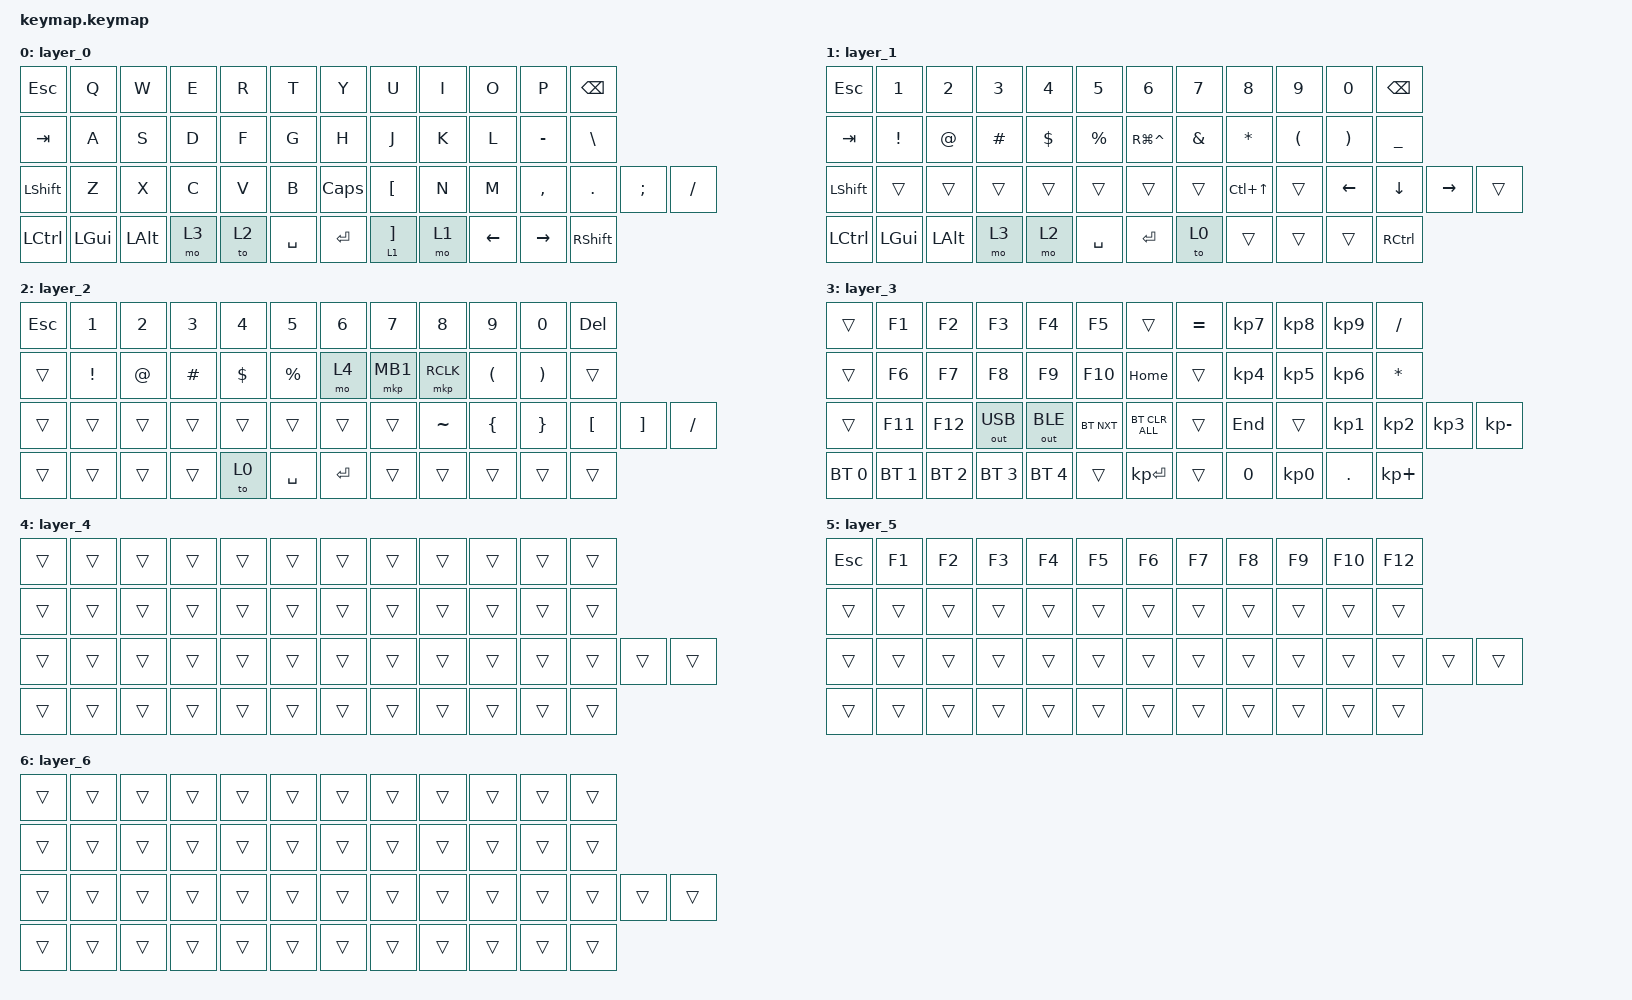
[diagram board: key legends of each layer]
#include <behaviors.dtsi>
#include <dt-bindings/zmk/bt.h>
#include <dt-bindings/zmk/keys.h>
#include <dt-bindings/zmk/outputs.h>
#include <dt-bindings/zmk/pointing.h>

/ {
    combos {
        compatible = "zmk,combos";

        bt_clear {
            bindings = <&bt BT_CLR>;
            key-positions = <28 29>;
            layers = <2>;
        };
    };

    keymap {
        compatible = "zmk,keymap";

        layer_0 {
            bindings = <
&kp ESCAPE  &kp Q         &kp W     &kp E  &kp R  &kp T      &kp Y         &kp U                &kp I  &kp O           &kp P            &kp BSPC
&kp TAB     &kp A         &kp S     &kp D  &kp F  &kp G      &kp H         &kp J                &kp K  &kp L           &kp MINUS        &kp BACKSLASH
&kp LSHFT   &kp Z         &kp X     &kp C  &kp V  &kp B      &kp CAPSLOCK  &kp LEFT_BRACKET     &kp N  &kp M           &kp COMMA        &kp DOT          &kp SEMICOLON  &kp SLASH
&kp LCTRL   &kp LEFT_GUI  &kp LALT  &mo 3  &to 2  &kp SPACE  &kp ENTER     &lt 1 RIGHT_BRACKET  &mo 1  &kp LEFT_ARROW  &kp RIGHT_ARROW  &kp RIGHT_SHIFT
            >;
        };

        layer_1 {
            bindings = <
&kp ESCAPE      &kp N1           &kp N2        &kp N3    &kp N4      &kp N5       &kp N6         &kp N7         &kp N8            &kp N9                &kp N0          &kp BACKSPACE
&kp TAB         &kp EXCLAMATION  &kp AT_SIGN   &kp HASH  &kp DOLLAR  &kp PERCENT  &kp RG(CARET)  &kp AMPERSAND  &kp ASTERISK      &kp LEFT_PARENTHESIS  &kp RPAR        &kp UNDERSCORE
&kp LEFT_SHIFT  &trans           &trans        &trans    &trans      &trans       &trans         &trans         &kp LC(UP_ARROW)  &trans                &kp LEFT_ARROW  &kp DOWN_ARROW     &kp RIGHT_ARROW  &trans
&kp LCTRL       &kp LEFT_GUI     &kp LEFT_ALT  &mo 3     &mo 2       &kp SPACE    &kp ENTER      &to 0          &trans            &trans                &trans          &kp RIGHT_CONTROL
            >;
        };

        layer_2 {
            bindings = <
&kp ESCAPE  &kp N1    &kp N2  &kp N3    &kp N4      &kp N5     &kp N6     &kp N7    &kp N8     &kp N9                &kp N0                 &kp DELETE
&trans      &kp EXCL  &kp AT  &kp HASH  &kp DOLLAR  &kp PRCNT  &mo 4      &mkp MB1  &mkp RCLK  &kp LEFT_PARENTHESIS  &kp RIGHT_PARENTHESIS  &trans
&trans      &trans    &trans  &trans    &trans      &trans     &trans     &trans    &kp TILDE  &kp LEFT_BRACE        &kp RIGHT_BRACE        &kp LEFT_BRACKET  &kp RIGHT_BRACKET  &kp SLASH
&trans      &trans    &trans  &trans    &to 0       &kp SPACE  &kp ENTER  &trans    &trans     &trans                &trans                 &trans
            >;
        };

        layer_3 {
            bindings = <
&trans        &kp F1        &kp F2        &kp F3        &kp F4        &kp F5      &trans          &kp EQUAL  &kp KP_NUMBER_7  &kp KP_NUMBER_8  &kp KP_NUMBER_9  &kp SLASH
&trans        &kp F6        &kp F7        &kp F8        &kp F9        &kp F10     &kp HOME        &trans     &kp KP_NUMBER_4  &kp KP_NUMBER_5  &kp KP_NUMBER_6  &kp ASTERISK
&trans        &kp F11       &kp F12       &out OUT_USB  &out OUT_BLE  &bt BT_NXT  &bt BT_CLR_ALL  &trans     &kp END          &trans           &kp KP_NUMBER_1  &kp KP_NUMBER_2  &kp KP_NUMBER_3  &kp KP_MINUS
&bt BT_SEL 0  &bt BT_SEL 1  &bt BT_SEL 2  &bt BT_SEL 3  &bt BT_SEL 4  &trans      &kp KP_ENTER    &trans     &kp NUMBER_0     &kp KP_NUMBER_0  &kp DOT          &kp KP_PLUS
            >;
        };

        layer_4 {
            bindings = <
&trans  &trans  &trans  &trans  &trans  &trans  &trans  &trans  &trans  &trans  &trans  &trans
&trans  &trans  &trans  &trans  &trans  &trans  &trans  &trans  &trans  &trans  &trans  &trans
&trans  &trans  &trans  &trans  &trans  &trans  &trans  &trans  &trans  &trans  &trans  &trans  &trans  &trans
&trans  &trans  &trans  &trans  &trans  &trans  &trans  &trans  &trans  &trans  &trans  &trans
            >;
        };

        layer_5 {
            bindings = <
&kp ESC  &kp F1  &kp F2  &kp F3  &kp F4  &kp F5  &kp F6  &kp F7  &kp F8  &kp F9  &kp F10  &kp F12
&trans   &trans  &trans  &trans  &trans  &trans  &trans  &trans  &trans  &trans  &trans   &trans
&trans   &trans  &trans  &trans  &trans  &trans  &trans  &trans  &trans  &trans  &trans   &trans   &trans  &trans
&trans   &trans  &trans  &trans  &trans  &trans  &trans  &trans  &trans  &trans  &trans   &trans
            >;
        };

        layer_6 {
            bindings = <
&trans  &trans  &trans  &trans  &trans  &trans  &trans  &trans  &trans  &trans  &trans  &trans
&trans  &trans  &trans  &trans  &trans  &trans  &trans  &trans  &trans  &trans  &trans  &trans
&trans  &trans  &trans  &trans  &trans  &trans  &trans  &trans  &trans  &trans  &trans  &trans  &trans  &trans
&trans  &trans  &trans  &trans  &trans  &trans  &trans  &trans  &trans  &trans  &trans  &trans
            >;
        };
    };
};
